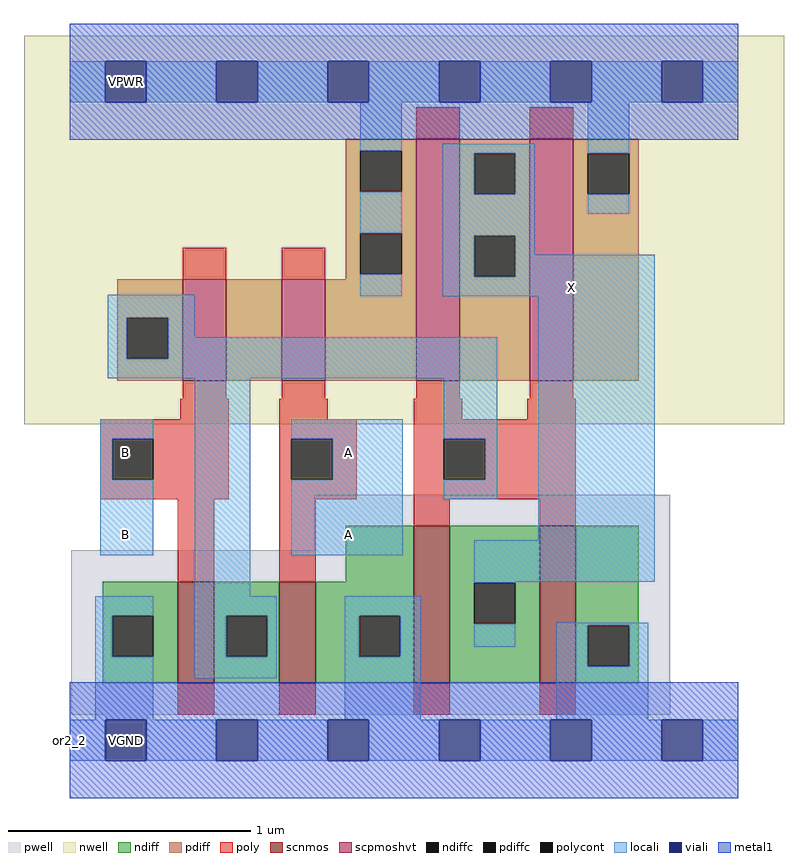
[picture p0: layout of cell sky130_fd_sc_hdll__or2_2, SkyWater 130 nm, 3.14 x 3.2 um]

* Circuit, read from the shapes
.subckt sky130_fd_sc_hdll__or2_2 A B VGND VNB VPB VPWR X
XM1 n1 B VGND VNB sky130_fd_pr__nfet_01v8 w=0.42 l=0.15
XM2 VGND A n1 VNB sky130_fd_pr__nfet_01v8 w=0.42 l=0.15
XM3 X n1 VGND VNB sky130_fd_pr__nfet_01v8 w=0.65 l=0.15 m=2
XM4 n2 B n1 VPB sky130_fd_pr__pfet_01v8_hvt w=0.42 l=0.18
XM5 VPWR A n2 VPB sky130_fd_pr__pfet_01v8_hvt w=0.42 l=0.18
XM6 X n1 VPWR VPB sky130_fd_pr__pfet_01v8_hvt w=1 l=0.18 m=2
.ends

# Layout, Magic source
magic
tech sky130A
magscale 1 2
<< nwell >>
rect -38 261 590 582
<< pwell >>
rect 202 157 496 203
rect 1 21 496 157
rect 30 -17 64 21
<< scnmos >>
rect 89 47 119 131
rect 173 47 203 131
rect 284 47 314 177
rect 388 47 418 177
<< scpmoshvt >>
rect 93 297 129 381
rect 175 297 211 381
rect 286 297 322 497
rect 380 297 416 497
<< ndiff >>
rect 228 131 284 177
rect 27 103 89 131
rect 27 69 35 103
rect 69 69 89 103
rect 27 47 89 69
rect 119 103 173 131
rect 119 69 129 103
rect 163 69 173 103
rect 119 47 173 69
rect 203 103 284 131
rect 203 69 239 103
rect 273 69 284 103
rect 203 47 284 69
rect 314 130 388 177
rect 314 96 334 130
rect 368 96 388 130
rect 314 47 388 96
rect 418 95 470 177
rect 418 61 428 95
rect 462 61 470 95
rect 418 47 470 61
<< pdiff >>
rect 228 487 286 497
rect 228 453 240 487
rect 274 453 286 487
rect 228 419 286 453
rect 228 385 240 419
rect 274 385 286 419
rect 228 381 286 385
rect 39 349 93 381
rect 39 315 47 349
rect 81 315 93 349
rect 39 297 93 315
rect 129 297 175 381
rect 211 297 286 381
rect 322 485 380 497
rect 322 451 334 485
rect 368 451 380 485
rect 322 417 380 451
rect 322 383 334 417
rect 368 383 380 417
rect 322 297 380 383
rect 416 485 470 497
rect 416 451 428 485
rect 462 451 470 485
rect 416 297 470 451
<< ndiffc >>
rect 35 69 69 103
rect 129 69 163 103
rect 239 69 273 103
rect 334 96 368 130
rect 428 61 462 95
<< pdiffc >>
rect 240 453 274 487
rect 240 385 274 419
rect 47 315 81 349
rect 334 451 368 485
rect 334 383 368 417
rect 428 451 462 485
<< poly >>
rect 286 497 322 523
rect 380 497 416 523
rect 93 381 129 407
rect 175 381 211 407
rect 93 282 129 297
rect 175 282 211 297
rect 286 282 322 297
rect 380 282 416 297
rect 91 265 131 282
rect 25 249 131 265
rect 25 215 35 249
rect 69 215 131 249
rect 25 199 131 215
rect 173 265 213 282
rect 284 265 324 282
rect 378 265 418 282
rect 173 249 237 265
rect 173 215 183 249
rect 217 215 237 249
rect 173 199 237 215
rect 284 249 418 265
rect 284 215 309 249
rect 343 215 418 249
rect 284 199 418 215
rect 89 131 119 199
rect 173 131 203 199
rect 284 177 314 199
rect 388 177 418 199
rect 89 21 119 47
rect 173 21 203 47
rect 284 21 314 47
rect 388 21 418 47
<< polycont >>
rect 35 215 69 249
rect 183 215 217 249
rect 309 215 343 249
<< locali >>
rect 0 527 29 561
rect 63 527 121 561
rect 155 527 213 561
rect 247 527 305 561
rect 339 527 397 561
rect 431 527 489 561
rect 523 527 552 561
rect 240 487 274 527
rect 240 419 274 453
rect 31 349 103 368
rect 240 367 274 385
rect 308 485 384 493
rect 308 451 334 485
rect 368 451 384 485
rect 308 417 384 451
rect 428 485 462 527
rect 428 435 462 451
rect 308 383 334 417
rect 368 401 384 417
rect 368 383 483 401
rect 308 367 483 383
rect 31 315 47 349
rect 81 333 103 349
rect 81 315 353 333
rect 31 299 353 315
rect 25 249 69 265
rect 25 215 35 249
rect 25 153 69 215
rect 103 119 149 299
rect 183 249 275 265
rect 217 215 275 249
rect 183 153 275 215
rect 309 249 353 299
rect 343 215 353 249
rect 309 199 353 215
rect 387 165 483 367
rect 334 131 483 165
rect 334 130 368 131
rect 21 103 69 119
rect 21 69 35 103
rect 21 17 69 69
rect 103 103 171 119
rect 103 69 129 103
rect 163 69 171 103
rect 103 51 171 69
rect 227 103 290 119
rect 227 69 239 103
rect 273 69 290 103
rect 334 77 368 96
rect 402 95 478 97
rect 227 17 290 69
rect 402 61 428 95
rect 462 61 478 95
rect 402 17 478 61
rect 0 -17 29 17
rect 63 -17 121 17
rect 155 -17 213 17
rect 247 -17 305 17
rect 339 -17 397 17
rect 431 -17 489 17
rect 523 -17 552 17
<< viali >>
rect 29 527 63 561
rect 121 527 155 561
rect 213 527 247 561
rect 305 527 339 561
rect 397 527 431 561
rect 489 527 523 561
rect 29 -17 63 17
rect 121 -17 155 17
rect 213 -17 247 17
rect 305 -17 339 17
rect 397 -17 431 17
rect 489 -17 523 17
<< metal1 >>
rect 0 561 552 592
rect 0 527 29 561
rect 63 527 121 561
rect 155 527 213 561
rect 247 527 305 561
rect 339 527 397 561
rect 431 527 489 561
rect 523 527 552 561
rect 0 496 552 527
rect 0 17 552 48
rect 0 -17 29 17
rect 63 -17 121 17
rect 155 -17 213 17
rect 247 -17 305 17
rect 339 -17 397 17
rect 431 -17 489 17
rect 523 -17 552 17
rect 0 -48 552 -17
<< labels >>
flabel locali s 29 221 63 255 0 FreeSans 200 0 0 0 B
port 2 nsew signal input
flabel locali s 397 357 431 391 0 FreeSans 200 0 0 0 X
port 7 nsew signal output
flabel locali s 213 221 247 255 0 FreeSans 200 0 0 0 A
port 1 nsew signal input
flabel locali s 213 153 247 187 0 FreeSans 200 0 0 0 A
port 1 nsew signal input
flabel locali s 29 153 63 187 0 FreeSans 200 0 0 0 B
port 2 nsew signal input
flabel metal1 s 30 527 64 561 0 FreeSans 200 0 0 0 VPWR
port 6 nsew power bidirectional
flabel metal1 s 30 -17 64 17 0 FreeSans 200 0 0 0 VGND
port 3 nsew ground bidirectional
flabel nwell s 30 527 64 561 0 FreeSans 200 0 0 0 VPB
port 5 nsew power bidirectional
flabel pwell s 30 -17 64 17 0 FreeSans 200 0 0 0 VNB
port 4 nsew ground bidirectional
rlabel comment s 0 0 0 0 4 or2_2
<< properties >>
string LEFsite unithd
string LEFclass CORE
string FIXED_BBOX 0 0 552 544
string GDS_FILE $PDKPATH/libs.ref/sky130_fd_sc_hdll/gds/sky130_fd_sc_hdll.gds
string LEFsymmetry X Y R90
string GDS_END 2599862
string GDS_START 2595092
string LEFproperties maskLayoutSubType "abstract" prCellType "standard" originalViewName "layout"
<< end >>
